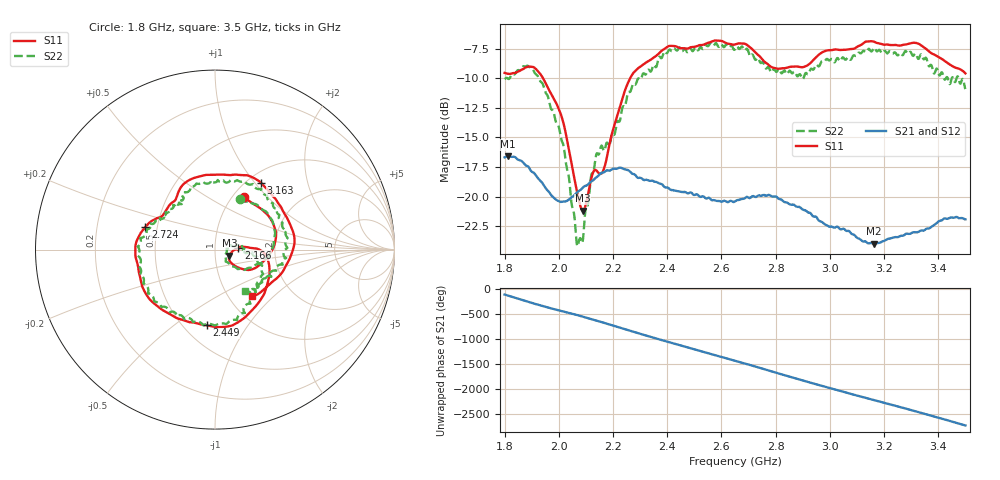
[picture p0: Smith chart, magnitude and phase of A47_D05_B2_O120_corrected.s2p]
! Created with skrf 1.9.0 (http://scikit-rf.org).
# Hz S RI R 50.0
!freq ReS11 ImS11 ReS21 ImS21 ReS12 ImS12 ReS22 ImS22
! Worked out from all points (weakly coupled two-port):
!   1601 points, 1.8 GHz to 3.5 GHz, reference 50 ohm
!   highest |S21| = -16.59 dB at 1.812 GHz (marker M1); lowest = -24.0 dB at 3.161 GHz (marker M2)
!   lowest |S11| = -21.2 dB at 2.089 GHz (marker M3), VSWR 1.19, Z = 58.6 - j4.05 ohm
!   |S11| at or under -10 dB: 1.942 GHz to 2.263 GHz (320.6 MHz wide, 15.2 % of centre)
!   |S22| runs from -24.2 to -7.0 dB; largest |S21 - S12| = 0.0023
!   S11 on the Smith chart (normalised r, x): 1.8 GHz: 1.12, +0.74; 2.166 GHz: 1.30, +0.03; 2.449 GHz: 0.64, -0.66; 2.724 GHz: 0.43, +0.13; 3.163 GHz: 1.15, +1.08; 3.5 GHz: 1.28, -0.75
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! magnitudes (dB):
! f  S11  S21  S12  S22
! 1.8 GHz  -9.5  -16.7  -16.7  -10.1
! 1.812 GHz  -9.6  -16.6  -16.6  -10.0
! 1.883 GHz  -9.0  -17.4  -17.4  -8.9
! 1.941 GHz  -10.0  -18.9  -18.9  -10.5
! 2.013 GHz  -13.4  -20.4  -20.4  -15.4
! 2.066 GHz  -19.4  -19.7  -19.7  -23.9
! 2.084 GHz  -21.1  -19.4  -19.3  -23.8
! 2.089 GHz  -21.2  -19.2  -19.3  -23.6
! 2.13 GHz  -17.8  -18.5  -18.5  -17.6
! 2.166 GHz  -17.7  -18.0  -17.9  -16.1
! 2.259 GHz  -10.2  -17.8  -17.8  -11.1
! 2.367 GHz  -7.9  -18.9  -18.8  -8.3
! 2.449 GHz  -7.4  -19.6  -19.6  -7.5
! 2.65 GHz  -7.1  -20.4  -20.4  -7.5
! 2.724 GHz  -7.8  -20.0  -20.0  -8.4
! 2.802 GHz  -9.2  -20.0  -20.0  -9.4
! 2.934 GHz  -8.6  -21.6  -21.5  -9.2
! 3.161 GHz  -6.9  -24.0  -23.9  -7.5
! 3.163 GHz  -6.9  -24.0  -23.9  -7.4
! 3.217 GHz  -7.2  -23.6  -23.5  -7.8
! 3.324 GHz  -7.0  -23.0  -23.0  -8.3
! 3.5 GHz  -9.6  -21.9  -21.9  -10.9
